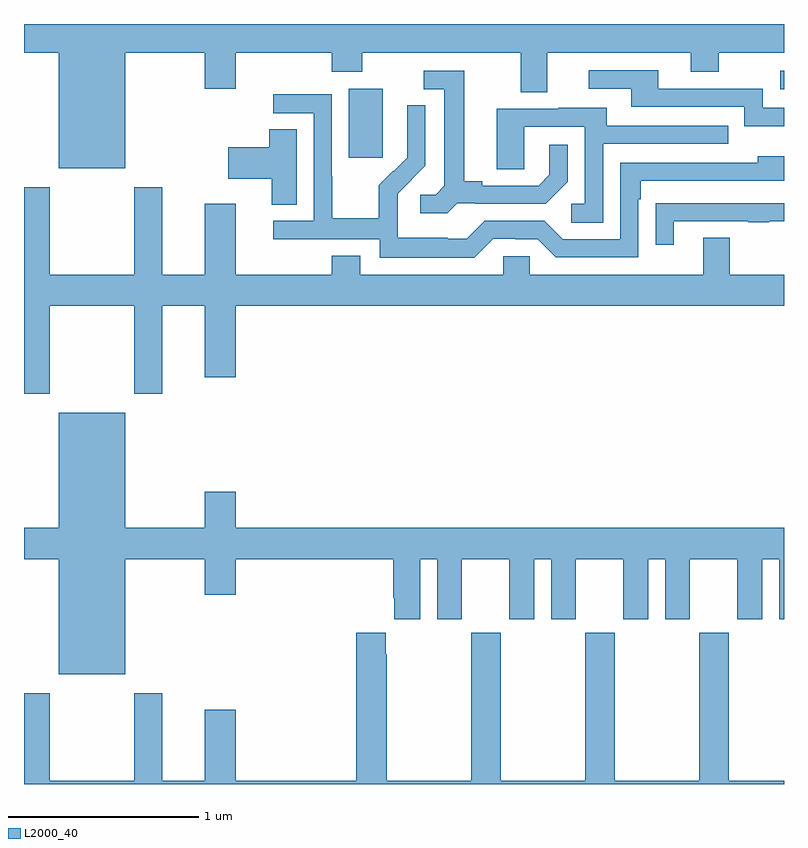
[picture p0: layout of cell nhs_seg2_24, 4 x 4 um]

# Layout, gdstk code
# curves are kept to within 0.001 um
import gdstk
lib = gdstk.Library(unit=1e-6, precision=1e-09)
def R(c, l, rs):  # rectangles x0, y0, x1, y1
    for r in rs: c.add(gdstk.rectangle(r[:2], r[2:], *l))
def P(c, l, *ps):  # polygons
    for p in ps: c.add(gdstk.Polygon(p, *l))
L2000_40 = (2000, 40)

nhs_seg2_24 = lib.new_cell('nhs_seg2_24')
R(nhs_seg2_24, L2000_40, [(112.709,635.097,112.888,635.458), (114.981,635.457,115,635.553)])
P(nhs_seg2_24, L2000_40, [(111.532,635.648),(111.95,635.648),(111.95,635.46),(112.114,635.46),(112.114,635.648),(112.619,635.648),(112.619,635.549),(112.779,635.549),(112.779,635.648),(113.615,635.648),(113.615,635.44),(113.755,635.44),(113.755,635.648),(114.509,635.648),(114.509,635.549),(114.657,635.549),(114.657,635.648),(115,635.648),(115,635.8),(111,635.8),(111,635.648),(111.182,635.648),(111.182,635.042),(111.532,635.042)],
  [(115,635.358),(114.888,635.358),(114.888,635.46),(114.337,635.46),(114.337,635.556),(113.973,635.556),(113.973,635.46),(114.197,635.46),(114.197,635.364),(114.792,635.364),(114.792,635.261),(115,635.261)],
  [(113.28,634.857),(113.374,634.857),(113.374,634.854),(113.746,634.854),(113.862,634.97),(113.862,635.164),(113.765,635.164),(113.765,635.007),(113.708,634.95),(113.413,634.95),(113.413,634.973),(113.317,634.973),(113.317,635.553),(113.103,635.553),(113.103,635.457),(113.213,635.457),(113.213,634.949),(113.166,634.902),(113.085,634.902),(113.085,634.805),(113.228,634.805)],
  [(113.469,634.671),(113.585,634.671),(113.585,634.668),(113.703,634.668),(113.799,634.572),(114.234,634.572),(114.234,634.877),(114.247,634.877),(114.247,634.974),(115,634.974),(115,635.104),(114.863,635.104),(114.863,635.07),(114.138,635.07),(114.138,634.668),(113.835,634.668),(113.739,634.764),(113.424,634.764),(113.331,634.671),(113.231,634.671),(113.231,634.675),(112.968,634.675),(112.968,634.809),(112.966,634.809),(112.966,634.906),(113.112,635.054),(113.112,635.372),(113.016,635.372),(113.016,635.218),(113.018,635.218),(113.018,635.096),(112.947,635.025),(112.944,635.028),(112.867,634.951),(112.867,634.777),(112.623,634.777),(112.623,635),(112.62,635),(112.62,635.43),(112.311,635.43),(112.311,635.331),(112.524,635.331),(112.524,634.764),(112.311,634.764),(112.311,634.668),(112.872,634.668),(112.872,634.571),(113.369,634.571)],
  [(114.048,635.169),(114.707,635.169),(114.707,635.265),(114.067,635.265),(114.067,635.359),(113.813,635.359),(113.813,635.355),(113.489,635.355),(113.489,635.035),(113.634,635.035),(113.634,635.259),(113.952,635.259),(113.952,634.854),(113.88,634.854),(113.88,634.753),(114.048,634.753)],
  [(112.435,635.246),(112.292,635.246),(112.292,635.151),(112.074,635.151),(112.074,634.985),(112.304,634.985),(112.304,634.849),(112.435,634.849)],
  [(111.135,634.316),(111.58,634.316),(111.58,633.855),(111.727,633.855),(111.727,634.316),(111.95,634.316),(111.95,633.942),(112.114,633.942),(112.114,634.316),(115,634.316),(115,634.48),(114.715,634.48),(114.715,634.675),(114.575,634.675),(114.575,634.48),(113.661,634.48),(113.661,634.578),(113.523,634.578),(113.523,634.48),(112.771,634.48),(112.771,634.579),(112.619,634.579),(112.619,634.48),(112.114,634.48),(112.114,634.855),(111.95,634.855),(111.95,634.48),(111.727,634.48),(111.727,634.942),(111.58,634.942),(111.58,634.48),(111.135,634.48),(111.135,634.942),(111,634.942),(111,633.855),(111.135,633.855)],
  [(114.421,634.761),(114.811,634.761),(114.811,634.756),(114.923,634.756),(114.923,634.761),(115,634.761),(115,634.857),(114.427,634.857),(114.427,634.856),(114.325,634.856),(114.325,634.638),(114.421,634.638)],
  [(111.532,632.984),(111.95,632.984),(111.95,632.796),(112.114,632.796),(112.114,632.984),(112.943,632.984),(112.943,632.779),(112.949,632.779),(112.949,632.667),(113.086,632.667),(113.086,632.984),(113.174,632.984),(113.174,632.667),(113.305,632.667),(113.305,632.984),(113.555,632.984),(113.555,632.667),(113.686,632.667),(113.686,632.984),(113.774,632.984),(113.774,632.667),(113.905,632.667),(113.905,632.984),(114.155,632.984),(114.155,632.667),(114.286,632.667),(114.286,632.984),(114.374,632.984),(114.374,632.667),(114.505,632.667),(114.505,632.984),(114.755,632.984),(114.755,632.667),(114.886,632.667),(114.886,632.984),(114.974,632.984),(114.974,632.667),(115,632.667),(115,633.148),(112.114,633.148),(112.114,633.337),(111.95,633.337),(111.95,633.148),(111.532,633.148),(111.532,633.754),(111.182,633.754),(111.182,633.148),(111,633.148),(111,632.984),(111.182,632.984),(111.182,632.378),(111.532,632.378)],
  [(115,631.816),(114.708,631.816),(114.708,632.596),(114.553,632.596),(114.553,631.816),(114.108,631.816),(114.108,632.596),(113.953,632.596),(113.953,631.816),(113.508,631.816),(113.508,632.596),(113.353,632.596),(113.353,631.816),(112.908,631.816),(112.908,632.483),(112.903,632.483),(112.903,632.596),(112.748,632.596),(112.748,631.816),(112.114,631.816),(112.114,632.191),(111.95,632.191),(111.95,631.816),(111.727,631.816),(111.727,632.278),(111.58,632.278),(111.58,631.816),(111.135,631.816),(111.135,632.278),(111,632.278),(111,631.8),(115,631.8)])

lib.write_gds('nhs_seg2_24.gds')
